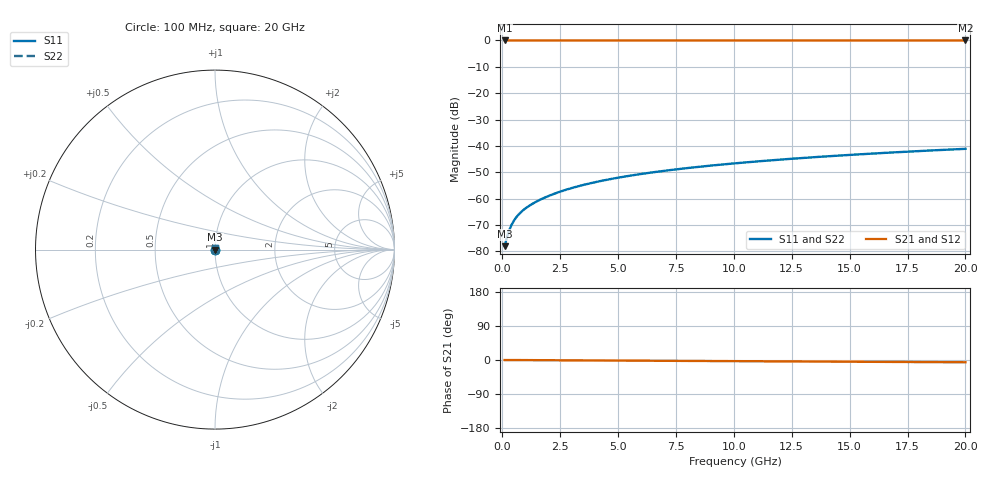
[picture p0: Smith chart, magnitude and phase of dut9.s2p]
! Touchstone file exported from HFSS 2026.1.0
!  File:  C:/ffzhzh/LocalFiles/Ansys_Project_Files/temp_train_TSV_9_1782957879_45568.aedt
!  Generated:  10:06:05 AM Jul  2, 2026
!  Design:  TSV
!  Project:  temp_train_TSV_9_1782957879_45568
! Variables:
!  h_bsmrdl = 2um
!  h_ox = 20um
!  h_rdl = 5um
!  h_sub = 56.5um
!  h_tmrdl = 5um
!  h_tsv = 56.5um
!  h_via = 3um
!  l_bsmrdl = 300um
!  l_sub = 419.9um
!  l_tmrdl = 200um
!  m_sub = 200um
!  pitch = 43.43um
!  r_tsv = 9.95um
!  s_tmrdl = 10um
!  w_bsmrdl = 18um
!  w_sub = 500um
!  w_tmrdl = 12um
!  x_tsv_center1 = 206um
!  x_tsv_center2 = 524um
!  x_tsv_center3 = 736um
!  x_tsv_center4 = 1054um
!  x_tsv_center5 = 1266um
!  x_tsv_center6 = 1584um
# GHz S MA R 50.000000
! Terminal data exported
! Port[1] = TSV1_1_T1
! Port[2] = TSV1_1_T2
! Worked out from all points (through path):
!   200 points, 100 MHz to 20 GHz, reference 50 ohm
!   highest |S21| = 0.00 dB at 100 MHz (marker M1); lowest = 0.0 dB at 20 GHz (marker M2)
!   lowest |S11| = -78.0 dB at 100 MHz (marker M3), VSWR 1.00, Z = 50 + j0.00763 ohm
!   |S11| at or under -10 dB: start of sweep to end of sweep
!   |S22| runs from -78.0 to -41.1 dB; largest |S21 - S12| = 3.1e-15
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0.1  0.0001256 37.4  0.9999 -0.0  0.9999 -0.0  0.0001256 37.4
! Gamma 0 0 0 0
! Port Impedance 50 0 50 0
0.2  0.0001857 54.0  0.9999 -0.1  0.9999 -0.1  0.0001857 54.0
0.3  0.0002525 60.9  0.9999 -0.1  0.9999 -0.1  0.0002525 60.9
0.4  0.0003186 64.0  0.9999 -0.1  0.9999 -0.1  0.0003186 64.0
0.5  0.0003816 65.6  0.9998 -0.2  0.9998 -0.2  0.0003816 65.6
0.6  0.0004412 66.6  0.9998 -0.2  0.9998 -0.2  0.0004412 66.6
0.7  0.0004977 67.2  0.9998 -0.2  0.9998 -0.2  0.0004977 67.2
0.8  0.0005515 67.8  0.9998 -0.2  0.9998 -0.2  0.0005515 67.8
1  0.0006535 68.8  0.9998 -0.3  0.9998 -0.3  0.0006535 68.8
1.4  0.0008457 70.7  0.9997 -0.4  0.9997 -0.4  0.0008457 70.7
1.7  0.0009862 71.9  0.9997 -0.5  0.9997 -0.5  0.0009862 71.9
2  0.001126 73.0  0.9997 -0.6  0.9997 -0.6  0.001126 73.0
2.7  0.001452 74.9  0.9996 -0.8  0.9996 -0.8  0.001452 74.9
3.5  0.001821 76.1  0.9996 -1.1  0.9996 -1.1  0.001821 76.1
4.2  0.00214 76.8  0.9996 -1.3  0.9996 -1.3  0.00214 76.8
5  0.002499 77.3  0.9995 -1.5  0.9995 -1.5  0.002499 77.3
6.8  0.003289 78.0  0.9994 -2.1  0.9994 -2.1  0.003289 78.0
8.3  0.003935 78.3  0.9994 -2.5  0.9994 -2.5  0.003935 78.3
10.1  0.004701 78.5  0.9993 -3.0  0.9993 -3.0  0.004701 78.5
13.4  0.006089 78.5  0.9992 -4.0  0.9992 -4.0  0.006089 78.5
16.7  0.007459 78.1  0.9991 -5.0  0.9991 -5.0  0.007459 78.1
20  0.008809 77.6  0.999 -6.0  0.999 -6.0  0.008809 77.6
